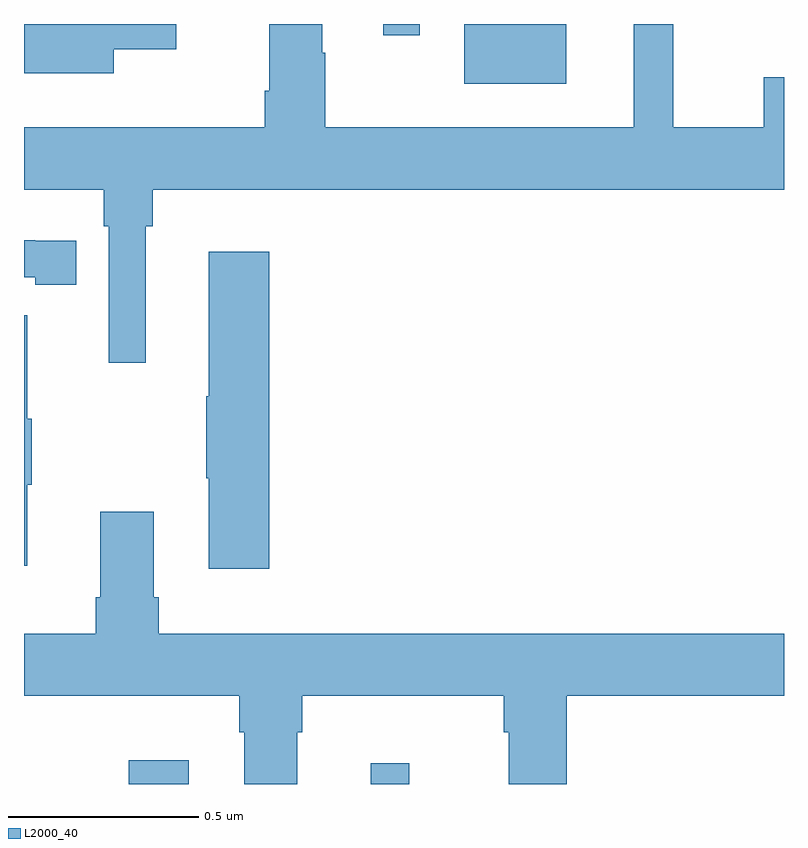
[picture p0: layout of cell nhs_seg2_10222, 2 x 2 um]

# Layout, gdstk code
import gdstk
lib = gdstk.Library(unit=1e-6, precision=1e-09)
def R(c, l, rs):  # rectangles x0, y0, x1, y1
    for r in rs: c.add(gdstk.rectangle(r[:2], r[2:], *l))
def P(c, l, *ps):  # polygons
    for p in ps: c.add(gdstk.Polygon(p, *l))
L2000_40 = (2000, 40)

nhs_seg2_10222 = lib.new_cell('nhs_seg2_10222')
R(nhs_seg2_10222, L2000_40, [(239.276,584.8,239.434,584.863), (239.912,584.8,240.014,584.854), (240.158,586.643,240.427,586.8), (239.945,586.77,240.042,586.8)])
P(nhs_seg2_10222, L2000_40, [(239.32,586.268),(239.339,586.268),(239.339,586.364),(241,586.364),(241,586.66),(240.947,586.66),(240.947,586.528),(240.709,586.528),(240.709,586.8),(240.605,586.8),(240.605,586.528),(239.793,586.528),(239.793,586.724),(239.785,586.724),(239.785,586.8),(239.645,586.8),(239.645,586.624),(239.633,586.624),(239.633,586.528),(239,586.528),(239,586.364),(239.21,586.364),(239.21,586.268),(239.223,586.268),(239.223,585.909),(239.32,585.909)],
  [(239.236,586.733),(239.4,586.733),(239.4,586.8),(239,586.8),(239,586.67),(239.236,586.67)],
  [(239.138,586.23),(239.03,586.23),(239.03,586.231),(239,586.231),(239,586.134),(239.03,586.134),(239.03,586.114),(239.138,586.114)],
  [(239.645,586.201),(239.486,586.201),(239.486,585.821),(239.479,585.821),(239.479,585.604),(239.486,585.604),(239.486,585.366),(239.645,585.366)],
  [(239.009,585.587),(239.02,585.587),(239.02,585.761),(239.009,585.761),(239.009,586.033),(239,586.033),(239,585.375),(239.009,585.375)],
  [(239.719,584.936),(239.732,584.936),(239.732,585.032),(240.263,585.032),(240.263,584.936),(240.275,584.936),(240.275,584.8),(240.428,584.8),(240.428,585.032),(241,585.032),(241,585.196),(239.354,585.196),(239.354,585.292),(239.341,585.292),(239.341,585.517),(239.201,585.517),(239.201,585.292),(239.189,585.292),(239.189,585.196),(239,585.196),(239,585.032),(239.567,585.032),(239.567,584.936),(239.579,584.936),(239.579,584.8),(239.719,584.8)])

lib.write_gds('nhs_seg2_10222.gds')
